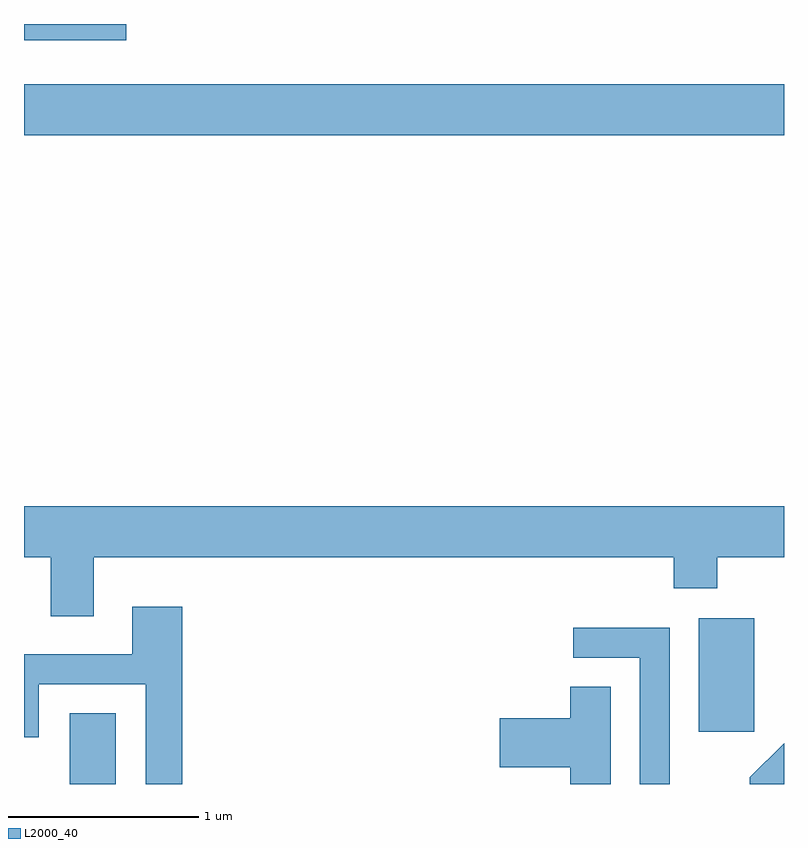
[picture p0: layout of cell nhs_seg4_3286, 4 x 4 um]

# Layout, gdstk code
import gdstk
lib = gdstk.Library(unit=1e-6, precision=1e-09)
def R(c, l, rs):  # rectangles x0, y0, x1, y1
    for r in rs: c.add(gdstk.rectangle(r[:2], r[2:], *l))
def P(c, l, *ps):  # polygons
    for p in ps: c.add(gdstk.Polygon(p, *l))
L2000_40 = (2000, 40)

nhs_seg4_3286 = lib.new_cell('nhs_seg4_3286')
R(nhs_seg4_3286, L2000_40, [(281.851,1297.982,282.094,1298.354), (285.161,1298.256,285.454,1298.854), (281.611,1301.396,285.611,1301.664), (281.611,1301.896,282.148,1301.982)])
P(nhs_seg4_3286, L2000_40, [(281.979,1299.176),(285.031,1299.176),(285.031,1299.011),(285.259,1299.011),(285.259,1299.176),(285.611,1299.176),(285.611,1299.444),(281.611,1299.444),(281.611,1299.176),(281.751,1299.176),(281.751,1298.866),(281.979,1298.866)],
  [(282.444,1298.914),(282.181,1298.914),(282.181,1298.664),(281.611,1298.664),(281.611,1298.228),(281.689,1298.228),(281.689,1298.506),(282.251,1298.506),(282.251,1297.982),(282.444,1297.982)],
  [(285.009,1298.804),(284.503,1298.804),(284.503,1298.646),(284.851,1298.646),(284.851,1297.982),(285.009,1297.982)],
  [(284.699,1298.494),(284.486,1298.494),(284.486,1298.329),(284.116,1298.329),(284.116,1298.071),(284.486,1298.071),(284.486,1297.982),(284.699,1297.982)],
  [(285.611,1298.197),(285.431,1298.017),(285.431,1297.982),(285.611,1297.982)])

lib.write_gds('nhs_seg4_3286.gds')
